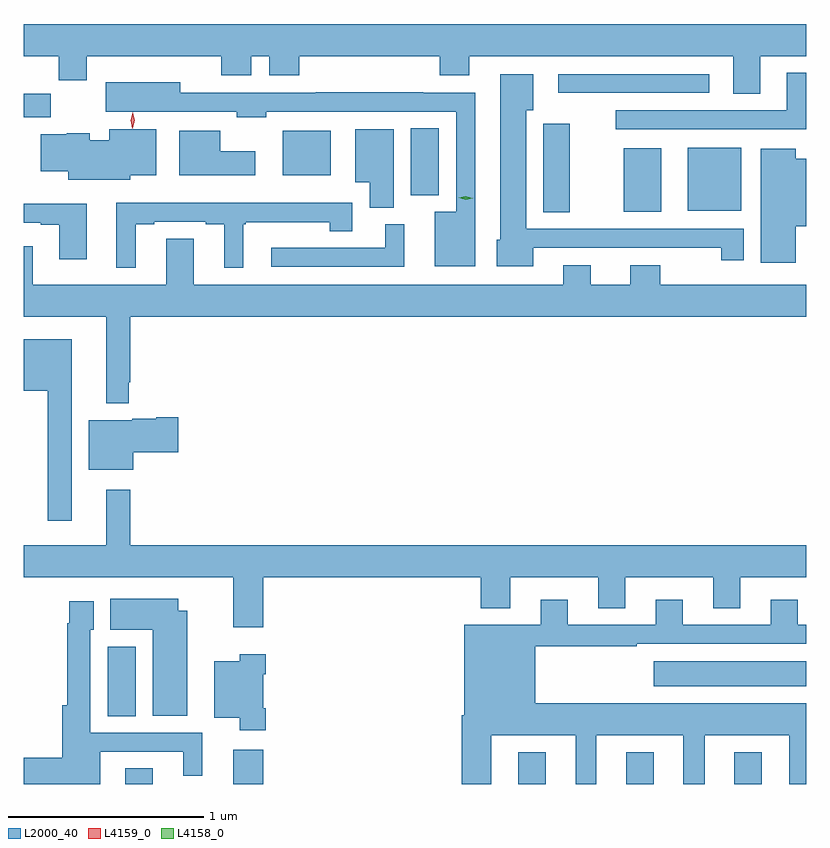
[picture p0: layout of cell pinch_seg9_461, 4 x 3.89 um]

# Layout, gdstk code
import gdstk
lib = gdstk.Library(unit=1e-6, precision=1e-09)
def R(c, l, rs):  # rectangles x0, y0, x1, y1
    for r in rs: c.add(gdstk.rectangle(r[:2], r[2:], *l))
def A(c, l, x, y, w, h, nx, ny, dx, dy):  # array of equal rectangles
    R(c, l, [(x+i*dx, y+j*dy, x+i*dx+w, y+j*dy+h) for i in range(nx) for j in range(ny)])
def P(c, l, *ps):  # polygons
    for p in ps: c.add(gdstk.Polygon(p, *l))
L2000_40 = (2000, 40)
L4158_0 = (4158, 0)
L4159_0 = (4159, 0)

pinch_seg9_461 = lib.new_cell('pinch_seg9_461')
A(pinch_seg9_461, L2000_40, 339.725, 1164.726, 0.14, 0.163, 3, 1, 0.552, 0)
R(pinch_seg9_461, L2000_40, [(337.715,1164.726,337.855,1164.806), (338.267,1164.726,338.42,1164.901), (337.625,1165.072,337.768,1165.429), (340.419,1165.226,341.197,1165.354), (339.854,1167.649,339.988,1168.102), (340.265,1167.653,340.456,1167.976), (340.592,1167.656,340.864,1167.979), (339.176,1167.737,339.319,1168.079), (338.522,1167.839,338.767,1168.066), (337.197,1168.136,337.334,1168.255), (339.93,1168.26,340.702,1168.356)])
P(pinch_seg9_461, L2000_40, [(340.963,1168.448),(341.197,1168.448),(341.197,1168.612),(337.197,1168.612),(337.197,1168.448),(337.375,1168.448),(337.375,1168.324),(337.519,1168.324),(337.519,1168.448),(338.207,1168.448),(338.207,1168.349),(338.359,1168.349),(338.359,1168.448),(338.453,1168.448),(338.453,1168.349),(338.606,1168.349),(338.606,1168.448),(339.323,1168.448),(339.323,1168.349),(339.475,1168.349),(339.475,1168.448),(340.823,1168.448),(340.823,1168.255),(340.963,1168.255)],
  [(341.197,1168.363),(341.099,1168.363),(341.099,1168.17),(340.224,1168.17),(340.224,1168.074),(341.197,1168.074)],
  [(339.802,1167.468),(340.534,1167.468),(340.534,1167.467),(340.762,1167.467),(340.762,1167.405),(340.879,1167.405),(340.879,1167.564),(339.766,1167.564),(339.766,1168.172),(339.802,1168.172),(339.802,1168.354),(339.632,1168.354),(339.632,1167.51),(339.614,1167.51),(339.614,1167.374),(339.802,1167.374)],
  [(339.504,1168.26),(339.239,1168.26),(339.239,1168.262),(338.689,1168.262),(338.689,1168.26),(337.996,1168.26),(337.996,1168.315),(337.616,1168.315),(337.616,1168.163),(337.869,1168.163),(337.869,1168.164),(338.286,1168.164),(338.286,1168.136),(338.436,1168.136),(338.436,1168.164),(339.408,1168.164),(339.408,1167.652),(339.299,1167.652),(339.299,1167.374),(339.504,1167.374)],
  [(339.088,1168.075),(338.891,1168.075),(338.891,1167.803),(338.966,1167.803),(338.966,1167.673),(339.088,1167.673)],
  [(337.74,1167.839),(337.873,1167.839),(337.873,1168.075),(337.634,1168.075),(337.634,1168.018),(337.534,1168.018),(337.534,1168.054),(337.416,1168.054),(337.416,1168.048),(337.283,1168.048),(337.283,1167.86),(337.424,1167.86),(337.424,1167.815),(337.74,1167.815)],
  [(338.38,1167.961),(338.2,1167.961),(338.2,1168.066),(337.991,1168.066),(337.991,1167.839),(338.38,1167.839)],
  [(341.143,1167.578),(341.197,1167.578),(341.197,1167.922),(341.143,1167.922),(341.143,1167.973),(340.964,1167.973),(340.964,1167.392),(341.143,1167.392)],
  [(337.768,1167.588),(337.864,1167.588),(337.864,1167.6),(338.126,1167.6),(338.126,1167.588),(338.222,1167.588),(338.222,1167.365),(338.32,1167.365),(338.32,1167.588),(338.332,1167.588),(338.332,1167.599),(338.762,1167.599),(338.762,1167.553),(338.875,1167.553),(338.875,1167.697),(337.67,1167.697),(337.67,1167.365),(337.768,1167.365)],
  [(337.519,1167.694),(337.197,1167.694),(337.197,1167.597),(337.283,1167.597),(337.283,1167.585),(337.379,1167.585),(337.379,1167.408),(337.519,1167.408)],
  [(339.142,1167.588),(339.044,1167.588),(339.044,1167.468),(338.463,1167.468),(338.463,1167.372),(339.142,1167.372)],
  [(337.733,1166.779),(337.741,1166.779),(337.741,1167.116),(341.197,1167.116),(341.197,1167.28),(340.451,1167.28),(340.451,1167.379),(340.298,1167.379),(340.298,1167.28),(340.096,1167.28),(340.096,1167.379),(339.956,1167.379),(339.956,1167.28),(338.065,1167.28),(338.065,1167.515),(337.925,1167.515),(337.925,1167.28),(337.243,1167.28),(337.243,1167.475),(337.197,1167.475),(337.197,1167.116),(337.619,1167.116),(337.619,1166.672),(337.733,1166.672)],
  [(337.441,1167.001),(337.197,1167.001),(337.197,1166.738),(337.32,1166.738),(337.32,1166.073),(337.441,1166.073)],
  [(337.756,1166.422),(337.987,1166.422),(337.987,1166.6),(337.874,1166.6),(337.874,1166.593),(337.752,1166.593),(337.752,1166.587),(337.529,1166.587),(337.529,1166.333),(337.756,1166.333)],
  [(338.42,1165.784),(339.533,1165.784),(339.533,1165.625),(339.685,1165.625),(339.685,1165.784),(340.133,1165.784),(340.133,1165.624),(340.273,1165.624),(340.273,1165.784),(340.721,1165.784),(340.721,1165.624),(340.861,1165.624),(340.861,1165.784),(341.197,1165.784),(341.197,1165.948),(337.741,1165.948),(337.741,1166.23),(337.619,1166.23),(337.619,1165.948),(337.197,1165.948),(337.197,1165.784),(338.267,1165.784),(338.267,1165.527),(338.42,1165.527)],
  [(338.032,1165.612),(337.987,1165.612),(337.987,1165.672),(337.64,1165.672),(337.64,1165.514),(337.856,1165.514),(337.856,1165.076),(338.032,1165.076)],
  [(339.586,1164.974),(340.019,1164.974),(340.019,1164.726),(340.123,1164.726),(340.123,1164.974),(340.568,1164.974),(340.568,1164.726),(340.678,1164.726),(340.678,1164.974),(341.111,1164.974),(341.111,1164.726),(341.197,1164.726),(341.197,1165.138),(339.811,1165.138),(339.811,1165.431),(340.331,1165.431),(340.331,1165.443),(341.197,1165.443),(341.197,1165.539),(341.155,1165.539),(341.155,1165.669),(341.015,1165.669),(341.015,1165.539),(340.567,1165.539),(340.567,1165.669),(340.427,1165.669),(340.427,1165.539),(339.979,1165.539),(339.979,1165.669),(339.839,1165.669),(339.839,1165.54),(339.449,1165.54),(339.449,1165.078),(339.437,1165.078),(339.437,1164.726),(339.586,1164.726)],
  [(337.588,1164.891),(338.012,1164.891),(338.012,1164.768),(338.11,1164.768),(338.11,1164.987),(337.536,1164.987),(337.536,1165.515),(337.555,1165.515),(337.555,1165.66),(337.428,1165.66),(337.428,1165.547),(337.42,1165.547),(337.42,1165.129),(337.394,1165.129),(337.394,1164.86),(337.197,1164.86),(337.197,1164.726),(337.588,1164.726)],
  [(338.435,1165.114),(338.422,1165.114),(338.422,1165.286),(338.435,1165.286),(338.435,1165.39),(338.3,1165.39),(338.3,1165.354),(338.171,1165.354),(338.171,1165.064),(338.3,1165.064),(338.3,1165.002),(338.435,1165.002)])
P(pinch_seg9_461, L4158_0, [(339.456,1167.713),(339.421,1167.724),(339.421,1167.724),(339.421,1167.724),(339.457,1167.732),(339.492,1167.721),(339.492,1167.721),(339.492,1167.721)])
P(pinch_seg9_461, L4159_0, [(337.752,1168.08),(337.743,1168.12),(337.754,1168.16),(337.754,1168.16),(337.754,1168.16),(337.763,1168.12),(337.753,1168.08),(337.753,1168.08)])

lib.write_gds('pinch_seg9_461.gds')
